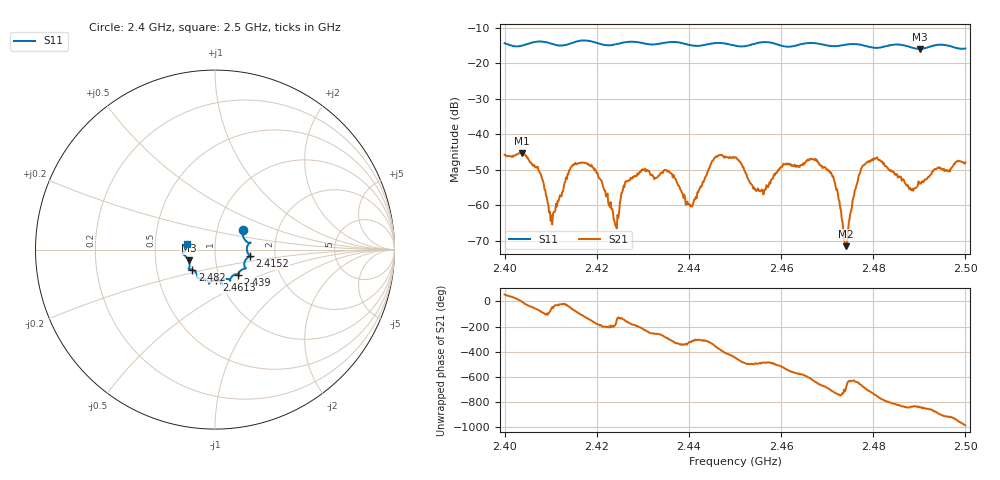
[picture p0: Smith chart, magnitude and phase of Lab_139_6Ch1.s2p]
# Hz S RI R 50
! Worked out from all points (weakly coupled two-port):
!   601 points, 2.4 GHz to 2.5 GHz, reference 50 ohm
!   highest |S21| = -45.22 dB at 2.4038 GHz (marker M1); lowest = -71.5 dB at 2.474 GHz (marker M2)
!   lowest |S11| = -15.9 dB at 2.4902 GHz (marker M3), VSWR 1.38, Z = 36.9 - j4.59 ohm
!   |S11| at or under -10 dB: start of sweep to end of sweep
!   S12 and S22 are empty: the file has one direction only
!   S11 on the Smith chart (normalised r, x): 2.4 GHz: 1.33, +0.31; 2.4152 GHz: 1.48, -0.11; 2.439 GHz: 1.24, -0.36; 2.4613 GHz: 0.96, -0.34; 2.482 GHz: 0.76, -0.17; 2.5 GHz: 0.73, +0.05
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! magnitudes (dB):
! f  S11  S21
! 2.4 GHz  -14.4  -45.7
! 2.4038 GHz  -15.0  -45.2
! 2.4077 GHz  -13.9  -50.9
! 2.4102 GHz  -14.5  -62.9
! 2.4152 GHz  -14.0  -48.4
! 2.4167 GHz  -13.6  -47.9
! 2.4198 GHz  -14.2  -50.2
! 2.4242 GHz  -14.7  -65.6
! 2.4267 GHz  -14.0  -53.2
! 2.4333 GHz  -14.5  -51.7
! 2.439 GHz  -14.5  -57.0
! 2.45 GHz  -15.0  -46.5
! 2.4557 GHz  -14.1  -55.9
! 2.4613 GHz  -15.3  -48.3
! 2.4667 GHz  -14.3  -47.0
! 2.4712 GHz  -15.2  -51.9
! 2.474 GHz  -14.8  -71.5
! 2.4773 GHz  -14.8  -49.7
! 2.482 GHz  -15.5  -47.7
! 2.4833 GHz  -15.0  -49.9
! 2.4902 GHz  -15.9  -53.8
! 2.5 GHz  -15.8  -47.9
